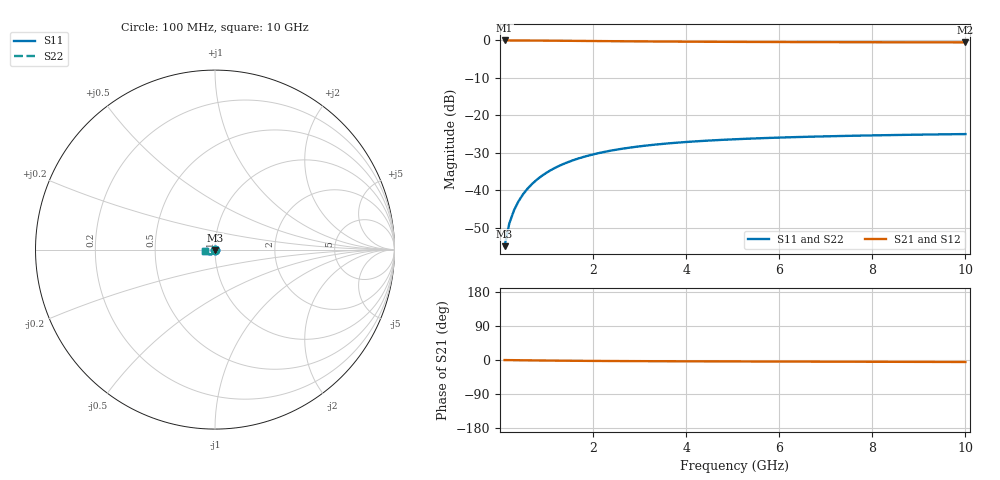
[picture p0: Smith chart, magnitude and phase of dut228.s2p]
! Touchstone file exported from HFSS 2024.1.0
!  File:  C:/UserFiles/LocalFiles/RDL_TSV_Batchsim/temp_TSV1_228_1778759006.aedt
!  Generated:  07:47:45 PM May 14, 2026
!  Design:  TSV1
!  Project:  temp_TSV1_228_1778759006
!  Setup:  Setup1
!  Solution:  Sweep
! Variables:
!  dtsv = 14.56um
!  hbump = 3um
!  htsv = 80.33um
!  lrdl = 252.1521522um
!  p = 40
!  p1 = 58.76um
!  t = 500um
!  trdl = 3um
!  wrdl = 24.89489489um
# GHz S MA R 50.000000
! Terminal data exported
! Port[1] = TSV22_T1
! Port[2] = TSV22_T2
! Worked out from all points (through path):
!   100 points, 100 MHz to 10 GHz, reference 50 ohm
!   highest |S21| = 0.00 dB at 100 MHz (marker M1); lowest = -0.5 dB at 10 GHz (marker M2)
!   lowest |S11| = -54.9 dB at 100 MHz (marker M3), VSWR 1.00, Z = 50 - j0.18 ohm
!   |S11| at or under -10 dB: start of sweep to end of sweep
!   |S22| runs from -54.9 to -25.0 dB; largest |S21 - S12| = 6.1e-15
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0.1  0.001799 -89.5  0.9999 -0.2  0.9999 -0.2  0.001799 -89.5
! Gamma 0 0 0 0
! Port Impedance 50 0 50 0
0.2  0.003597 -92.6  0.9996 -0.3  0.9996 -0.3  0.003597 -92.6
0.3  0.005389 -94.9  0.9993 -0.5  0.9993 -0.5  0.005389 -94.9
0.4  0.007168 -97.1  0.9989 -0.6  0.9989 -0.6  0.007168 -97.1
0.5  0.008925 -99.2  0.9983 -0.8  0.9983 -0.8  0.008925 -99.2
0.6  0.01065 -101.3  0.9976 -0.9  0.9976 -0.9  0.01065 -101.3
0.7  0.01235 -103.3  0.9969 -1.0  0.9969 -1.0  0.01235 -103.3
0.8  0.014 -105.2  0.9961 -1.2  0.9961 -1.2  0.014 -105.2
0.9  0.01562 -107.1  0.9952 -1.3  0.9952 -1.3  0.01562 -107.1
1.1  0.01871 -110.8  0.9931 -1.5  0.9931 -1.5  0.01871 -110.8
1.4  0.02298 -116.0  0.9898 -1.9  0.9898 -1.9  0.02298 -116.0
1.6  0.02557 -119.3  0.9874 -2.1  0.9874 -2.1  0.02557 -119.3
1.8  0.02796 -122.3  0.985 -2.3  0.985 -2.3  0.02796 -122.3
2.1  0.03118 -126.6  0.9815 -2.5  0.9815 -2.5  0.03118 -126.6
2.5  0.03486 -131.7  0.9769 -2.7  0.9769 -2.7  0.03486 -131.7
2.9  0.03795 -136.2  0.9728 -3.0  0.9728 -3.0  0.03795 -136.2
3.4  0.04112 -141.1  0.9682 -3.2  0.9682 -3.2  0.04112 -141.1
4.2  0.04501 -147.7  0.9621 -3.5  0.9621 -3.5  0.04501 -147.7
5.1  0.0482 -153.8  0.9568 -3.8  0.9568 -3.8  0.0482 -153.8
6.7  0.05201 -162.2  0.9503 -4.3  0.9503 -4.3  0.05201 -162.2
8.4  0.05462 -169.1  0.9458 -4.8  0.9458 -4.8  0.05462 -169.1
10  0.05635 -174.4  0.943 -5.3  0.943 -5.3  0.05635 -174.4
